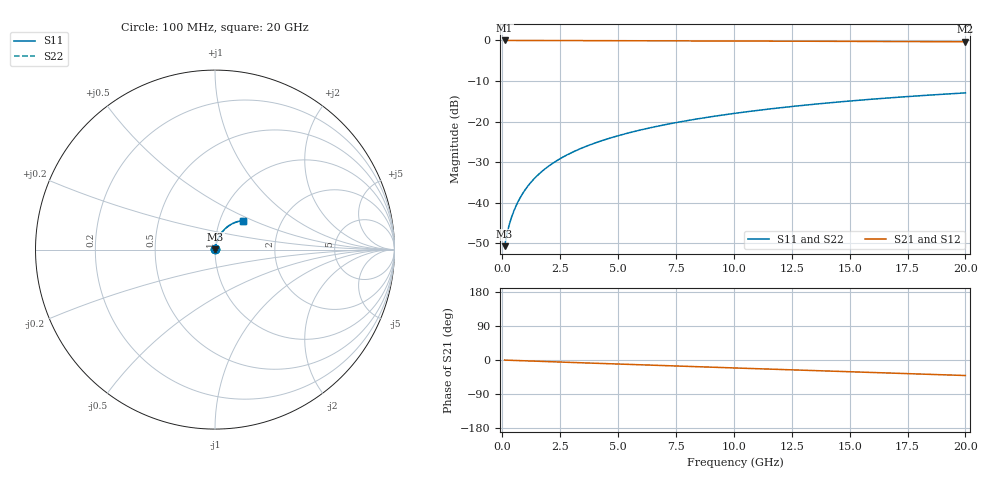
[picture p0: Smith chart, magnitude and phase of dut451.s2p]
! Touchstone file exported from HFSS 2026.1.0
!  File:  C:/ffzhzh/LocalFiles/Ansys_Project_Files/temp_train_TMRDL_451_1783005819_4048.aedt
!  Generated:  11:25:00 PM Jul  2, 2026
!  Design:  TMRDL
!  Project:  temp_train_TMRDL_451_1783005819_4048
! Variables:
!  h_bsmrdl = 2um
!  h_ox = 20um
!  h_rdl = 5um
!  h_sub = 80um
!  h_tmrdl = 5.29um
!  h_tsv = 80um
!  h_via = 3um
!  l_bsmrdl = 300um
!  l_sub = 1088.41um
!  l_tmrdl = 688.41um
!  m_sub = 200um
!  pitch = 34.53um
!  r_tsv = 6um
!  s_tmrdl = 10um
!  w_bsmrdl = 18um
!  w_sub = 500um
!  w_tmrdl = 21.39um
!  x_tsv_center1 = 699.105um
!  x_tsv_center2 = 1017.105um
!  x_tsv_center3 = 1726.905um
!  x_tsv_center4 = 2044.905um
!  x_tsv_center5 = 2754.705um
!  x_tsv_center6 = 3072.705um
# GHz S MA R 50.000000
! Terminal data exported
! Port[1] = TM_RDL1_1_T1
! Port[2] = TM_RDL1_1_T2
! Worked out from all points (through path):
!   200 points, 100 MHz to 20 GHz, reference 50 ohm
!   highest |S21| = -0.02 dB at 100 MHz (marker M1); lowest = -0.3 dB at 20 GHz (marker M2)
!   group delay of S21, straight-line fit = 5.67 ps
!   lowest |S11| = -50.7 dB at 100 MHz (marker M3), VSWR 1.01, Z = 50.2 + j0.17 ohm
!   |S11| at or under -10 dB: start of sweep to end of sweep
!   |S22| runs from -50.7 to -12.9 dB; largest |S21 - S12| = 2.1e-15
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0.1  0.002916 35.6  0.9976 -0.2  0.9976 -0.2  0.002916 35.6
! Gamma 0 0 0 0
! Port Impedance 50 0 50 0
0.2  0.004126 50.7  0.9974 -0.5  0.9974 -0.5  0.004126 50.7
0.3  0.005371 58.5  0.9972 -0.7  0.9972 -0.7  0.00537 58.5
0.4  0.006631 63.5  0.9971 -0.9  0.9971 -0.9  0.006631 63.5
0.5  0.007918 67.1  0.997 -1.1  0.997 -1.1  0.007918 67.1
0.6  0.009229 69.7  0.997 -1.3  0.997 -1.3  0.009229 69.7
0.8  0.0119 73.0  0.9968 -1.8  0.9968 -1.8  0.0119 73.0
1.1  0.01598 75.7  0.9966 -2.4  0.9966 -2.4  0.01598 75.7
1.3  0.01871 76.6  0.9964 -2.8  0.9964 -2.8  0.01871 76.6
1.6  0.0228 77.3  0.9961 -3.5  0.9961 -3.5  0.0228 77.3
2.1  0.02956 77.5  0.9955 -4.5  0.9955 -4.5  0.02956 77.5
2.7  0.03755 77.0  0.9946 -5.8  0.9946 -5.8  0.03755 77.0
3.5  0.04797 76.0  0.9934 -7.5  0.9934 -7.5  0.04797 76.0
4.2  0.05689 74.9  0.9923 -9.0  0.9923 -9.0  0.05689 74.9
5  0.06687 73.5  0.991 -10.7  0.991 -10.7  0.06688 73.5
5.9  0.0779 71.9  0.9895 -12.5  0.9895 -12.5  0.0779 71.9
6.8  0.08872 70.4  0.9879 -14.4  0.9879 -14.4  0.08873 70.4
8.3  0.1064 67.7  0.9853 -17.5  0.9853 -17.5  0.1064 67.7
10.1  0.1269 64.4  0.9819 -21.1  0.9819 -21.1  0.1269 64.4
13.4  0.1627 58.2  0.9753 -27.8  0.9753 -27.8  0.1627 58.2
16.7  0.1956 52.0  0.9683 -34.4  0.9683 -34.4  0.1956 52.0
20  0.2254 45.8  0.961 -40.9  0.961 -40.9  0.2254 45.8
